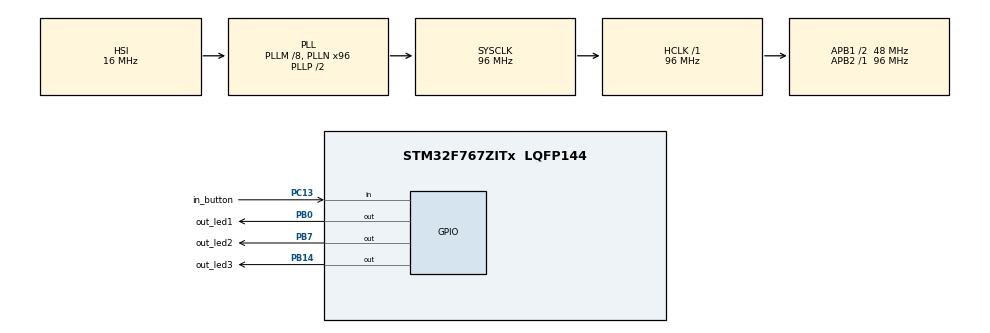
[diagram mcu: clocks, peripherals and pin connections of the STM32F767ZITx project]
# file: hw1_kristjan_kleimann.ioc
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Mcu.Family=STM32F7
Mcu.Name=STM32F767ZITx
Mcu.Package=LQFP144
NVIC.PriorityGroup=NVIC_PRIORITYGROUP_4
NVIC.TIM1_BRK_TIM9_IRQn=true\:0\:0\:false\:false\:true\:true\:true
NVIC.TIM1_CC_IRQn=true\:0\:0\:false\:false\:true\:true\:true
NVIC.TIM1_TRG_COM_TIM11_IRQn=true\:0\:0\:false\:false\:true\:true\:true
NVIC.TIM1_UP_TIM10_IRQn=true\:0\:0\:false\:false\:true\:true\:true
PB0.GPIO_Label=out_led1
PB0.Signal=GPIO_Output
PB14.GPIO_Label=out_led3
PB14.Signal=GPIO_Output
PB7.GPIO_Label=out_led2
PB7.Signal=GPIO_Output
PC13.GPIO_Label=in_button
PC13.Signal=GPIO_Input
ProjectManager.HeapSize=0x200
ProjectManager.StackSize=0x400
ProjectManager.TargetToolchain=STM32CubeIDE
RCC.AHBFreq_Value=96000000
RCC.APB1CLKDivider=RCC_HCLK_DIV2
RCC.APB1Freq_Value=48000000
RCC.APB1TimFreq_Value=96000000
RCC.APB2Freq_Value=96000000
RCC.APB2TimFreq_Value=96000000
RCC.CortexFreq_Value=96000000
RCC.HCLKFreq_Value=96000000
RCC.HSE_VALUE=25000000
RCC.HSI_VALUE=16000000
RCC.LSE_VALUE=32768
RCC.PLLM=8
RCC.PLLN=96
RCC.SYSCLKFreq_VALUE=96000000
RCC.SYSCLKSource=RCC_SYSCLKSOURCE_PLLCLK
RCC.USBFreq_Value=96000000
RCC.VCOOutputFreq_Value=192000000
TIM1.Period=2000 -1
TIM1.Prescaler=48000-1
TIM3.AutoReloadPreload=TIM_AUTORELOAD_PRELOAD_ENABLE
TIM3.Channel-PWM\ Generation3\ CH3=TIM_CHANNEL_3
TIM3.Period=250 -1
TIM3.Prescaler=48000 -1
VP_TIM1_VS_ClockSourceINT.Mode=Internal
VP_TIM3_VS_ClockSourceINT.Mode=Internal
board=custom

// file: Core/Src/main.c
/* USER CODE BEGIN Header */
/**
  ******************************************************************************
  * @file           : main.c
  * @brief          : Main program body
  ******************************************************************************
  * @attention
  *
  * <h2><center>&copy; Copyright (c) 2021 STMicroelectronics.
  * All rights reserved.</center></h2>
  *
  * This software component is licensed by ST under BSD 3-Clause license,
  * the "License"; You may not use this file except in compliance with the
  * License. You may obtain a copy of the License at:
  *                        opensource.org/licenses/BSD-3-Clause
  *
  ******************************************************************************
  */
/* USER CODE END Header */
#include "main.h"
#include "tim.h"
#include "gpio.h"

void SystemClock_Config(void);

/* USER CODE BEGIN 0 */
volatile uint32_t interrupt_fired = 0;

void my_interrupt()
{
	interrupt_fired = 1;
}

void HAL_TIM_PeriodElapsedCallback(TIM_HandleTypeDef* htim)
{
	if(&htim1 == htim){
		interrupt_fired = 1;
	}

}
/* USER CODE END 0 */

int main(void)
{

  /* MCU Configuration--------------------------------------------------------*/

  /* Reset of all peripherals, Initializes the Flash interface and the Systick. */
  HAL_Init();

  /* Configure the system clock */
  SystemClock_Config();

  /* Initialize all configured peripherals */
  MX_GPIO_Init();
  MX_TIM3_Init();
  MX_TIM1_Init();
  /* USER CODE BEGIN 2 */
  HAL_TIM_Base_Start(&htim1);
  uint8_t work_in_progress = 0;
  uint8_t button_state = 0;

  uint32_t time_now()
  {
	  uint32_t time = HAL_GetTick();
	  return time;
  }

  void switch_led(uint8_t led)
  {
	  if(led == 1)
	  {
		  HAL_GPIO_TogglePin(out_led1_GPIO_Port, out_led1_Pin);
	  }
	  else if (led == 2)
	  {
		  HAL_GPIO_TogglePin(out_led2_GPIO_Port, out_led2_Pin);
	  }
	  else{HAL_GPIO_TogglePin(out_led3_GPIO_Port, out_led3_Pin);}
  }

  void blinker(uint8_t led, uint8_t n_of_blinks, uint8_t duration)
  {
	  uint8_t  pause_between_toggles = (duration*1000) / (n_of_blinks*2);
	  uint32_t blink_stop = time_now() + pause_between_toggles;
	  switch_led(led);
	  uint8_t cnt = 0;
	  while(1)
	  {
		  if(blink_stop < time_now())
		  {
			  switch_led(led);
			  blink_stop = time_now() + pause_between_toggles;
			  cnt += 1;
		  }
		  if (cnt == (n_of_blinks*2) - 1)

		  {
			  cnt = 0;
			  blink_stop = 0;
			  break;
		  }

	  }
  }

  /* USER CODE END 2 */

  /* Infinite loop */
  /* USER CODE BEGIN WHILE */
  uint32_t debounce_time = HAL_GetTick() + 50;
  while (1)
  {
	  uint8_t button = HAL_GPIO_ReadPin(in_button_GPIO_Port, in_button_Pin);
	  uint32_t time_of_end;

	  if(button == 1 && button_state == 0 && time_now() > debounce_time)
	  {
		  debounce_time = HAL_GetTick() + 50;
		  button_state = 1;
		  work_in_progress = 0;
	  }
	  if ((work_in_progress == 0 && button_state == 1 && button == 0) )
	  {
		  switch_led(3);
		  time_of_end = time_now() + 5000;
		  while(!button) // using 5 seconds for testing
		  {
			  button = HAL_GPIO_ReadPin(in_button_GPIO_Port, in_button_Pin);
			  if(time_now() > time_of_end)
			  {
				  switch_led(3);
				  blinker(1, 4, 2);
				  work_in_progress = 1;
				  button_state = 0;
				  break;
			  }
		  }
		  if(work_in_progress == 0)
		  {
			  switch_led(3);
			  blinker(2,2,1);
			  button_state = 0;
		  }
	  }
    /* USER CODE END WHILE */

  }
}

void SystemClock_Config(void)
{
  RCC_OscInitTypeDef RCC_OscInitStruct = {0};
  RCC_ClkInitTypeDef RCC_ClkInitStruct = {0};

  /** Configure the main internal regulator output voltage
  */
  __HAL_RCC_PWR_CLK_ENABLE();
  __HAL_PWR_VOLTAGESCALING_CONFIG(PWR_REGULATOR_VOLTAGE_SCALE3);
  /** Initializes the RCC Oscillators according to the specified parameters
  * in the RCC_OscInitTypeDef structure.
  */
  RCC_OscInitStruct.OscillatorType = RCC_OSCILLATORTYPE_HSI;
  RCC_OscInitStruct.HSIState = RCC_HSI_ON;
  RCC_OscInitStruct.HSICalibrationValue = RCC_HSICALIBRATION_DEFAULT;
  RCC_OscInitStruct.PLL.PLLState = RCC_PLL_ON;
  RCC_OscInitStruct.PLL.PLLSource = RCC_PLLSOURCE_HSI;
  RCC_OscInitStruct.PLL.PLLM = 8;
  RCC_OscInitStruct.PLL.PLLN = 96;
  RCC_OscInitStruct.PLL.PLLP = RCC_PLLP_DIV2;
  RCC_OscInitStruct.PLL.PLLQ = 2;
  if (HAL_RCC_OscConfig(&RCC_OscInitStruct) != HAL_OK)
  {
    Error_Handler();
  }
  /** Activate the Over-Drive mode
  */
  if (HAL_PWREx_EnableOverDrive() != HAL_OK)
  {
    Error_Handler();
  }
  /** Initializes the CPU, AHB and APB buses clocks
  */
  RCC_ClkInitStruct.ClockType = RCC_CLOCKTYPE_HCLK|RCC_CLOCKTYPE_SYSCLK
                              |RCC_CLOCKTYPE_PCLK1|RCC_CLOCKTYPE_PCLK2;
  RCC_ClkInitStruct.SYSCLKSource = RCC_SYSCLKSOURCE_PLLCLK;
  RCC_ClkInitStruct.AHBCLKDivider = RCC_SYSCLK_DIV1;
  RCC_ClkInitStruct.APB1CLKDivider = RCC_HCLK_DIV2;
  RCC_ClkInitStruct.APB2CLKDivider = RCC_HCLK_DIV1;

  if (HAL_RCC_ClockConfig(&RCC_ClkInitStruct, FLASH_LATENCY_3) != HAL_OK)
  {
    Error_Handler();
  }
}

void Error_Handler(void)
{
  __disable_irq();
  while (1)
  {
  }
}

/************************ (C) COPYRIGHT STMicroelectronics *****END OF FILE****/
